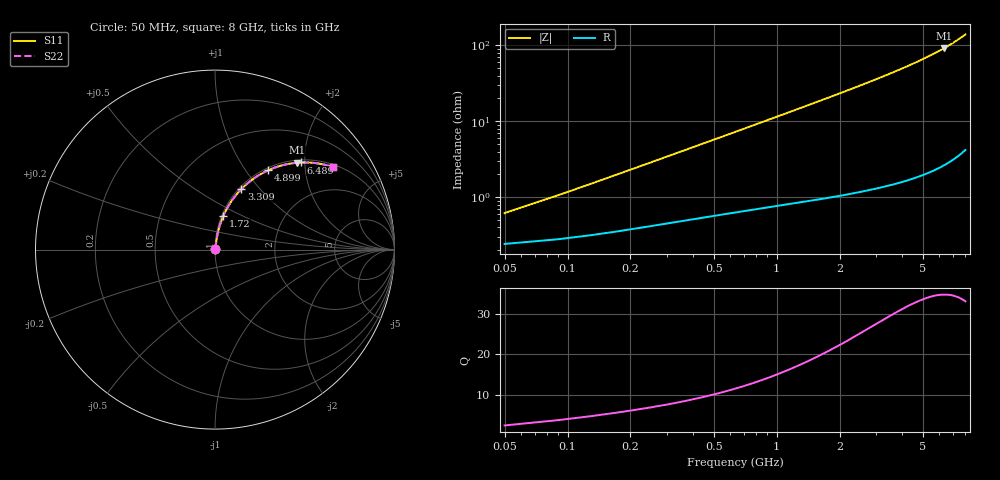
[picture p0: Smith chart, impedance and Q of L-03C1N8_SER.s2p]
! L-03C1N8
! Data taken by Rita
! Created Thu Jun 15 16:46:15 2006
# hz S ma R 50
! 2 Port Network Data from SP1.SP block
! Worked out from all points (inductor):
!   201 points, 50 MHz to 8 GHz, reference 50 ohm
!   read as one part in series: L = 1.81 nH near 89.75 MHz
!   highest Q = 34.8 at 6.33 GHz (marker M1), where L = 2.31 nH
!   S11 on the Smith chart (normalised r, x): 50 MHz: 1.00, +0.01; 1.72 GHz: 1.02, +0.40; 3.309 GHz: 1.03, +0.80; 4.899 GHz: 1.04, +1.28; 6.489 GHz: 1.05, +1.91; 8 GHz: 1.08, +2.78
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5e7  0.006169 66.5  0.9976 -0.3  0.9976 -0.3  0.006169 66.5
8.975e7  0.01055 74.1  0.9972 -0.6  0.9972 -0.6  0.01055 74.1
1.295e8  0.01502 77.0  0.9967 -0.8  0.9967 -0.8  0.01502 77.0
1.6925e8  0.0195 78.5  0.9963 -1.1  0.9963 -1.1  0.0195 78.5
2.09e8  0.02398 79.4  0.9959 -1.4  0.9959 -1.4  0.02398 79.4
2.885e8  0.03296 80.4  0.995 -1.9  0.995 -1.9  0.03296 80.4
4.0775e8  0.04641 81.0  0.9938 -2.6  0.9938 -2.6  0.04641 81.0
5.6675e8  0.06432 81.0  0.992 -3.7  0.992 -3.7  0.06432 81.0
8.0525e8  0.09115 80.4  0.989 -5.2  0.989 -5.2  0.09115 80.4
1.0835e9  0.1224 79.3  0.9847 -7.0  0.9847 -7.0  0.1224 79.3
1.4015e9  0.1579 77.8  0.9788 -9.1  0.9788 -9.1  0.1579 77.8
1.7195e9  0.1933 76.1  0.9718 -11.1  0.9718 -11.1  0.1933 76.1
2.1965e9  0.2461 73.3  0.9588 -14.2  0.9588 -14.2  0.2461 73.3
2.7133e9  0.3028 70.2  0.9416 -17.6  0.9416 -17.6  0.3028 70.2
3.3095e9  0.3673 66.5  0.9175 -21.5  0.9175 -21.5  0.3673 66.5
4.025e9  0.4429 61.9  0.8825 -26.3  0.8825 -26.3  0.4429 61.9
4.8995e9  0.5322 56.1  0.8309 -32.1  0.8309 -32.1  0.5322 56.1
5.3765e9  0.5789 53.0  0.7986 -35.4  0.7986 -35.4  0.5789 53.0
6.3305e9  0.6673 46.5  0.7259 -41.8  0.7259 -41.8  0.6673 46.5
6.4895e9  0.6813 45.4  0.7127 -42.9  0.7127 -42.9  0.6813 45.4
6.6883e9  0.6984 44.1  0.6959 -44.3  0.6959 -44.3  0.6984 44.1
8e9  0.8007 35.1  0.5755 -53.2  0.5755 -53.2  0.8007 35.1
